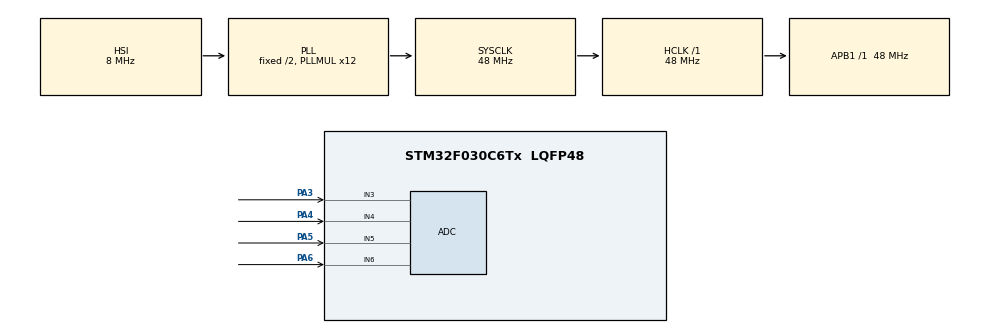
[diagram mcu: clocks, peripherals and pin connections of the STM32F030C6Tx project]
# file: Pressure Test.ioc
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ADC.ContinuousConvMode=ENABLE
ADC.DMAContinuousRequests=ENABLE
Dma.ADC.0.Direction=DMA_PERIPH_TO_MEMORY
Dma.ADC.0.Instance=DMA1_Channel1
Dma.ADC.0.MemDataAlignment=DMA_MDATAALIGN_HALFWORD
Dma.ADC.0.MemInc=DMA_MINC_ENABLE
Dma.ADC.0.Mode=DMA_CIRCULAR
Dma.ADC.0.PeriphDataAlignment=DMA_PDATAALIGN_HALFWORD
Dma.ADC.0.PeriphInc=DMA_PINC_DISABLE
Dma.ADC.0.Priority=DMA_PRIORITY_LOW
Dma.Request0=ADC
Mcu.Family=STM32F0
Mcu.Name=STM32F030C6Tx
Mcu.Package=LQFP48
NVIC.DMA1_Channel1_IRQn=true\:0\:0\:false\:false\:true\:false\:true\:true
PA13.Mode=Serial_Wire
PA13.Signal=SYS_SWDIO
PA14.Mode=Serial_Wire
PA14.Signal=SYS_SWCLK
PA3.Mode=IN3
PA3.Signal=ADC_IN3
PA4.Mode=IN4
PA4.Signal=ADC_IN4
PA5.Mode=IN5
PA5.Signal=ADC_IN5
PA6.Mode=IN6
PA6.Signal=ADC_IN6
PF0-OSC_IN.Mode=HSE-External-Oscillator
PF0-OSC_IN.Signal=RCC_OSC_IN
PF1-OSC_OUT.Mode=HSE-External-Oscillator
PF1-OSC_OUT.Signal=RCC_OSC_OUT
ProjectManager.HeapSize=0x200
ProjectManager.StackSize=0x400
ProjectManager.TargetToolchain=CMake
RCC.AHBFreq_Value=48000000
RCC.APB1Freq_Value=48000000
RCC.APB1TimFreq_Value=48000000
RCC.HCLKFreq_Value=48000000
RCC.PLLMUL=RCC_PLL_MUL12
RCC.SYSCLKFreq_VALUE=48000000
RCC.SYSCLKSource=RCC_SYSCLKSOURCE_PLLCLK
board=custom

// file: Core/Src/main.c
/* USER CODE BEGIN Header */
/**
  ******************************************************************************
  * @file           : main.c
  * @brief          : Main program body
  ******************************************************************************
  * @attention
  *
  * Copyright (c) 2026 STMicroelectronics.
  * All rights reserved.
  *
  * This software is licensed under terms that can be found in the LICENSE file
  * in the root directory of this software component.
  * If no LICENSE file comes with this software, it is provided AS-IS.
  *
  ******************************************************************************
  */
/* USER CODE END Header */
#include "main.h"
#include "adc.h"
#include "dma.h"
#include "gpio.h"
#include <math.h>

/* USER CODE BEGIN Includes */
#include "notch50.h"

/* USER CODE END Includes */

/* USER CODE BEGIN PD */
#define SENSOR0_TEST_MODE 1u /* PA3 only; bypass legacy four-channel foreground detection. */
#define ADC_REFERENCE_V 3.3f /* ADC VDDA in volts; replace with measured VDDA if needed. */
#define BOARD_W_MM       200.0f   /* 板宽 W（mm），按实际改 */
#define BOARD_H_MM       150.0f   /* 板高 H（mm），按实际改 */
#define HIT_THRESHOLD    0.3f     /* 击打阈值（V）：按压下降~0.4V，0.3V低于信号、高于空闲噪声 */
#define HIT_WINDOW_MS    30       /* 击打后抓峰值的窗口 ms */
#define BASELINE_SAMPLES 50       /* 开机采安静基线的次数 */
#define LPF_ALPHA        0.1f     /* 一阶低通系数(0~1)；0.1 ≈ 16Hz 截止 @1kHz，270Hz 衰减约 14 倍 */
#define BASELINE_BETA        0.0002f /* 基线慢跟踪系数(τ≈5s)：跟得上慢漂移，跟不动按压/尖峰 */
#define PRESS_ALPHA   0.003f   /* slow EMA for press detection (tau~500ms); 0.001f = ~1s */
#define PRESS_TH      0.03f    /* pressed when voltage drops 0.03V below baseline */
#define RELEASE_TH    0.02f    /* released when within 0.02V of baseline (hysteresis) */
#define STRIKE_MARGIN  0.10f    /* 旧固定阈值，已被下面的自适应阈值取代（保留供对照） */
#define STRIKE_HOLD_MS 100      /* striking 置 1 后保持的毫秒数 */
/* ---- 自适应击打判据 (fw 20260923) ----
 * 实测（Ozone_DataSampling_260920.csv，ch3 空闲）：vin_f 的噪声 σ≈43 mV，
 * 固定 0.10 V 只有 2.3σ，纯噪声就刷出 336 次/分；把阈值抬到 10σ 仍有 25 次/分，
 * 因为噪声是脉冲型而非高斯型，单路幅度阈值分不开。
 * 真正能分开的是【同时性】：敲击是机械事件，四个角在几毫秒内一起响应；
 * 噪声在各通道间独立（实测 ch3 大偏离时 ch1 只有 18.4%、ch2 8.6%、ch0 0.1% 同时偏离）。
 * 实测 6σ + 3/4 路同时(±5ms) → 68.6 s 内 0 次误触发（原逻辑 336 次/分）。 */
#define STRIKE_SIGMA_K      6.0f    /* 单路阈值 = K × 噪声σ */
#define STRIKE_MARGIN_MIN   0.10f   /* 阈值下限(V)：保持与原固定阈值一致，保证不会比原来更敏感 */
#define STRIKE_MARGIN_MAX   1.20f   /* 阈值上限(V) */
#define NOISE_ALPHA         0.0005f /* σ 估计的 EMA 系数，τ≈2 s @1kHz */
#define NOISE_SIGMA_MIN     0.005f  /* σ 下限(V) */
#define NOISE_SIGMA_MAX     1.000f  /* σ 上限(V) */
#define NOISE_CLIP_K        3.0f    /* σ 裁剪：只用 |d| < 3σ 的"安静"样本更新，别让击打本身抬高 σ */
#define COINC_WIN_MS        5u      /* 同时性窗口(ms) */
#define COINC_CH            3u      /* 至少几路在窗口内同时越界才算一次击打 */
#define STRIKE_REFRACT_MS   100u    /* 确认一次后的不应期(ms) */
/* ---- osc_floor 自适应触发 (fw 20260923) ----
 * 原来固定用 osc_floor > 0.85 V，但空闲时 osc_floor 的 p90 就是 0.690、max 0.919，
 * 阈值落在噪声分布里面，状态机自己在 0.85/0.70 之间来回翻转。
 * 改成对 osc_floor 自身的慢参考值和离散度做自适应。 */
#define OSC_FLOOR_K          6.0f    /* 触发阈值 = floor_ref + K × floor_spread */
#define OSC_FLOOR_MARGIN_MIN 0.05f   /* 最小裕量(V) */
#define OSC_FLOOR_REF_ALPHA  0.0002f /* floor 参考值 EMA，τ≈5 s */
#define OSC_FLOOR_SPR_ALPHA  0.0005f /* floor 离散度 EMA，τ≈2 s */
#define OSC_FLOOR_REARM_FRAC 0.5f    /* 复位：回落到 参考+50%裕量 以下 */
#define HIT_PEAK_K           4.0f    /* 该路峰值须超过自身噪声σ的 K 倍才算"有响应" */
#define HIT_STRONG_CH        3u      /* 至少几路有响应才认可这次 hit */
#define OSC_WINDOW           20      /* 振荡幅度窗口：20样本=20ms，覆盖~5个270Hz周期 */
#define OSC_ALPHA            0.05f   /* 振荡幅度低通系数(慢) */
#define OSC_FLOOR_PRESS_TH   0.85f   /* 按压判定：近期下界>0.85V(无低点)=按压；空闲下界会掉到0.6 */
#define OSC_FLOOR_REARM_TH   0.7f    /* 重新武装：近期下界<0.7V(有低点)=空闲 */
#define OSC_FLOOR_LEAK       0.001f  /* 下界上回速率(V/ms)，约250ms遗忘一个低点 */
/* ---- Rail / latch supervision (fw 20260922) ----
 * 实测：连续敲击后模拟前端会整体上移并自锁，ch1/ch2 的 ADC 读到 4095 且持续数十秒。
 * 没有这层保护时，base[] 会一路爬到 3.3V，于是"贴轨"的通道看起来和正常通道一样，
 * 位置解算也会把废弃通道算进去。 */
#define CH_RAIL_HI      4090u   /* raw >= 此值 = 输入达到/超过 ADC 满量程 */
#define CH_RAIL_LO      5u      /* raw <= 此值 = 输入达到/低于 ADC 零点 */
#define CH_RAIL_N      20u      /* 连续多少个 1ms 样本后判定该通道已锁死 */
/* ---- 高速采样 + 1ms 峰值保持 (fw 20260925) ----
 * ADC 单通道 @55.6 kHz (采样时间 239.5 周期) 连续转换, DMA 循环搬运。
 * 每半块(ADC_DMA_BLKSZ 个采样)在 DMA 中断里处理一次:
 *   adc_raw[0]  = 该块内【偏离均值最大】的那个原始采样(保留符号)
 *                 -> Ozone 以 1 kHz 导出时不会再漏掉 <1ms 的快速瞬态
 *   adc_mean[0] = 该块均值(对照)
 *   stk_*       = 整流差分包络检波器(击打检测本体), 延迟 ≈ 2.3 ms
 */
#define ADC_DMA_BLKSZ   64u                    /* DMA 半块/全块 采样数, 64/55556 = 1.15 ms */
#define ADC_DMA_LEN     (ADC_DMA_BLKSZ * 2u)   /* DMA 缓冲总长(半字), 128 = 256 B */
/* ---- 击打检测器 (fw 20260926): 块内 |Δ| 峰值 / 本底 ----
 * 原理: 击打 = 采样点之间的突变。
 *   每块取 max|x[n]-x[n-1]|            -> stk_dmax   (块内最大跳变, 单位 counts)
 *   本底 = 静置时 stk_dmax 的慢跟踪     -> stk_dfloor
 *   比值 = stk_dmax / stk_dfloor × 100  -> stk_ratio
 * 比值无量纲、与增益和偏置无关, 可以直接判断"有没有信号"。
 * ★ stk_maxratio = 清零以来比值的最大值 —— 这是判断能否检出的核心观测量:
 *     静置时约 200~350 (纯噪声的自然起伏)
 *     击打时若远高于它  -> 能检出
 *     击打时也在 300 上下 -> 检不出
 */
#define STK_K           4u      /* 触发阈值: 比值 >= K×100 (即 4 倍本底) */
#define STK_FLOOR_SH    8u      /* 本底跟踪移位(按块): τ = 256 块 = 0.29 s */
#define STK_REFRACT_MS  10u     /* 不应期(ms) = 允许的检测延迟 */
/* ============ 击打/按压检测滤波器 (fw 20260927) ============
 * 输入: adc_notch_vin[0] (1 kHz, 每 1.15 ms DMA 块 64 采样 @55.6 kHz 的均值)
 *   两级梳状 20 -> 25    等效 FIR 长度 44 点 = 44 ms, 群延迟 21.5 ms, sigma 116 mV -> 13.4 mV
 *   4.1 s 基线           每 32 点压一次进 128 点 int16 环(mV), 环均值 = 4096 点滑动平均
 *   双 sigma (sp^2 的 EMA, 只在空闲期更新):
 *      快 tau = 2^12 = 4.1 s  -> 击打
 *      慢 tau = 2^16 = 65 s   -> 按压(慢, 不会被按压自己的上升沿抬走)
 *   触发   |sp| > 6*sigma_fast  或  |sp| > 8*sigma_slow
 *   释放   回到 min(两个阈值)*0.5     不应期 20 ms
 *   宽度   <= 300 ms -> 击打 ; > 300 ms -> 按压
 * 在 Ozone_FifthTest.csv (静置30s -> 每5s击打 -> 按压5s) 上实测:
 *   35.882s/41ms, 40.744s/28ms, 50.717s/23ms 判为击打; 静置 30 s 内 0 次误报
 * ★ 关键: 判据必须建立在 1ms 块均值再 20/25 点串联平均之后。
 *   adc_raw[0] 上 1~2 采样宽的尖峰, 在静置期和击打期出现频率相同(比值 1.01),
 *   不能用来判击打 —— 静置 23.890s 处那个尖峰比 40.7s 那次击打还大。
 * ========================================================== */
#define SF_N1           20u
#define SF_N2           25u
#define SF_DEC          32u
#define SF_RING         128u
#define SF_KS           4.5f    /* 击打阈值 = 4.5 * sigma_fast */
#define SF_KL           6.0f    /* 按压阈值 = 6 * sigma_slow */
#define SF_GATEK        3.0f    /* sigma 只在 |sp| < 3*sigma 时更新 (挡住击打后的余振) */
#define SF_REL          0.5f    /* 释放 = 阈值 * 0.5 */
#define SF_LONG_MS      300u    /* 宽于此判为按压 */
#define SF_REFRACT_MS   300u    /* 事件间最小间隔 */
/* ---- 消隐: 事件后阈值临时抬高, 线性回落 ----
 * 一锤会让传感器余振 2~4 s, 冒出 30~80 mV 的二次事件, 每个都会被算成一次击打。
 * 事件后把阈值抬高, 在 SF_BLANK_MS 内线性回落到 0: 余振全被压掉。
 * ★ 抬升量现在是运行时可调的 sf_blank_cfg (默认 0 = 不消隐),
 *   SF_BLANK_V 只作为"改用锤击时"的参考值保留, 不再直接使用。
 *   代价: 抬升期间灵敏度下降, 相隔 < 5 s 的下一击可能被吞掉。 */
#define SF_BLANK_V      0.120f  /* 参考值: 锤击场景建议 0.100 ~ 0.120 */
#define SF_BLANK_MS     5000u   /* 消隐回落时间(ms) */
/* ---- 按压改判 ----
 * 按压落下那一下是 115 mV / 80 ms, 和锤击形状完全一样, 靠宽度分不开。
 * 但按压之后电平会【持续】抬高, 锤击不会。所以事件结束后再看 5 s:
 * 若出现连续 1 s 的高电平, 就把刚才那次从击打计数退回, 记为按压。 */
#define SF_SUS_K        3.0f    /* 持续判定: |sp| > 3*sigma 连续 ... */
#define SF_SUS_MS       1000u   /*   ... 1000 ms */
#define SF_CHK_MS       5000u   /* 事件结束后观察 5 s */
#define SF_SETTLE_MS    5000u   /* 环填满后再等 5 s */
#define SF_PRESS_GAP_MS 6000u
#define SF_SIG_MIN      0.002f
#define SF_SIG_MAX      0.500f
#define SF_SIG_INIT     0.015f
/* USER CODE END PD */

/* USER CODE BEGIN PV */
volatile uint16_t adc_raw[4];   /* Legacy: [0] is block extreme, NOT latest conversion; [1..3] inactive. */
volatile float    adc_vin[4];   /* Legacy: [0] is peak-picked voltage. Use sensor0_raw_v for latest sample. */

float            base[4] = {0};      /* 安静基线电压 */
float            peak[4] = {0};      /* 冲击各通道峰值 */
volatile float   vin_f[4] = {0};     /* 低通滤波后的电压（一阶EMA状态，滤270Hz共振）；volatile 便于 Ozone 观察 */
volatile float   vin_slow[4] = {0};   /* slow-filtered voltage (~0.5Hz), for press/release */
volatile uint32_t pressed[4] = {0};    /* per-channel: 1 = pressed, 0 = released (watch in Ozone) */
volatile float    press_dev[4] = {0};  /* per-channel press deviation (base - vin_slow), for Ozone */
volatile uint32_t striking = 0;        /* 1 = striking activity detected (rough) */
volatile uint32_t strike_count = 0;    /* accumulates: +1 per strike (rising edge) */
volatile float   osc_amp = 0;        /* 振荡幅度(V)：原始信号20ms峰峰值，低通后 */
volatile float   osc_floor = 2.0f;   /* 振荡幅度近期下界(V)：空闲~0.6、按压~1.0；供Ozone观察 */
volatile float   hit_x = 0;          /* 击打位置 x（中心原点，右正左负） */
volatile float   hit_y = 0;          /* 击打位置 y（中心原点，上正下负） */
volatile uint32_t hit_count = 0;     /* 累计击打次数 */
/* ---- Rail / latch supervision (fw 20260922) ---- */
volatile uint32_t ch_rail[4] = {0};     /* 1 = 该通道已贴轨锁死（连续 CH_RAIL_N ms 撞轨） */
volatile uint32_t ch_rail_ms[4] = {0};  /* 当前已连续贴轨多少 ms；0 = 未贴轨 */
volatile uint32_t ch_rail_events = 0;   /* 上电以来"进入锁死"的总次数 */
volatile uint32_t trigger_ch = 0;       /* 0..3 = 指定通道；>=4 = 自动选"幅度最大且未贴轨"的一路（默认） */
volatile uint32_t trigger_ch_used = 0;  /* 实际生效的触发通道（选中路贴轨或自动模式下自动切换） */
volatile float    osc_amp_ch[4] = {0};  /* 每路各自的振荡幅度(V)，用来找"哪一路还活着" */
volatile float    peak_up[4] = {0};     /* 抓峰窗口内相对基线的最大【上】偏量(V) */
volatile uint32_t peak_dir = 0;         /* 0 = 位置用下偏 peak[]（原行为），1 = 用上偏 peak_up[] */
volatile uint32_t hit_valid = 0;        /* 1 = 上次触发时至少有 3 路可用，位置可信 */
volatile uint32_t hit_rejected = 0;     /* 因贴轨通道过多而被丢弃的触发次数 */
volatile uint32_t adc_rezero = 0;       /* Ozone 里写 1：立刻重采一次基线并复位滤波器 */
/* ---- 自适应击打判据的观测量 (fw 20260923) ---- */
volatile float    strike_dev[4] = {0};   /* vin_f - base，本路当前的向上偏离量(V) */
volatile float    noise_sigma[4] = {0};  /* 本路 vin_f 的在线噪声 σ 估计(V) */
volatile float    strike_thr[4] = {0};   /* 本路当前实际使用的击打阈值(V) = max(0.05, 6σ) */
volatile uint32_t strike_ch[4] = {0};    /* 1 = 本路本周期越过了自己的阈值 */
volatile uint32_t strike_coinc = 0;      /* 最近 COINC_WIN_MS 窗口内同时越界的通道数 0~4 */
volatile uint32_t strike_reject = 0;     /* 只有 1~2 路越界、因不同时而丢弃的次数 */
volatile float    osc_floor_ref = 0;     /* osc_floor 的自适应参考值(V) */
volatile float    osc_floor_spread = 0;  /* osc_floor 的慢离散度(V) */
volatile float    osc_floor_thr = 0;     /* 当前实际触发阈值(V) = ref + 6×spread */
/* ADC diagnostics: retained software-observed extrema, not a full DMA trace. */
volatile uint32_t adc_diag_version = 20260928u; /* strike filter v4: 消隐 + 按压改判 + sigma 门限 */
volatile uint32_t adc_diag_stage = 0; /* 1=calibrate, 2=start, 3=settle, 4=loop */
volatile uint32_t adc_cal_status = 0xFFFFFFFFu;
volatile uint32_t adc_start_status = 0xFFFFFFFFu;
volatile uint32_t main_loop_count = 0;
volatile uint16_t adc_seen_min[4] = {4095, 4095, 4095, 4095};
volatile uint16_t adc_seen_max[4] = {0};
volatile uint16_t adc_seen_span[4] = {0};
volatile uint32_t adc_diag_reset = 1; /* Write 1 in Ozone to start a new window. */
/* 1 kHz sampled raw voltage and notch output, both in volts for Ozone. */
volatile float adc_notch_vin[4] = {0};
volatile uint32_t notch_sample_count = 0;
static volatile uint32_t adc_filter_ready = 0;
static Notch50State notch_state[4] = {0};
static uint8_t ch_frozen[4] = {0};   /* 该通道上一轮是否处于贴轨冻结状态 */
static float   noise_var[4] = {0};   /* vin_f-base 的在线方差估计 */
static uint8_t coinc_ring[COINC_WIN_MS + 1] = {0}; /* 最近若干采样的"越界位掩码" */
static uint8_t coinc_idx = 0;
static uint32_t strike_last_ms = 0;  /* 上次确认击打的时间戳 */
static uint32_t strike_dropped = 0;  /* 被同时性判据丢掉的候选次数 */

/* ================= 高速采样 + 峰值保持 (fw 20260925) ================= */
volatile uint16_t adc_dma_buf[ADC_DMA_LEN] = {0};  /* DMA 目标缓冲 */
volatile uint16_t adc_mean[1]  = {0};   /* 每块的均值原始值(对照用) */
volatile uint16_t blk_max_ever = 0;     /* 上电以来全局最大原始值 ★ */
volatile uint16_t blk_min_ever = 0xFFFF;/* 上电以来全局最小原始值 ★ */
volatile uint32_t blk_reset    = 1;     /* Ozone 写 1: 清零全局极值和统计 */
volatile uint32_t blk_count    = 0;     /* 已处理块数, 应约 870/s */

volatile uint32_t stk_dmax     = 0;     /* 本块 |Δ| 最大值 (counts) */
volatile uint32_t stk_dfloor   = 1;     /* 本底: 静置时 stk_dmax 的慢跟踪 */
volatile uint32_t stk_ratio    = 0;     /* 本块比值 ×100 = dmax/dfloor*100 */
volatile uint32_t stk_maxratio = 0;     /* ★ 清零以来比值最大值 —— 看这个判断能否检出 */
volatile uint32_t stk_count    = 0;     /* 击打累计次数 */
volatile uint32_t stk_state    = 0;     /* 0=空闲 1=已触发 */
volatile uint32_t stk_reject   = 0;     /* 未达阈值的块数(诊断) */

static uint16_t stk_prev;               /* 上一个采样 */
static uint32_t stk_dfloor_q;           /* 4.12 定点本底 */
static uint32_t stk_last_ms;            /* 上次计数时刻 */

/* ================= 击打/按压检测滤波器状态 (fw 20260927) ================= */
volatile float    sf_sp       = 0;  /* 滤波后偏离基线的量(V)      ★看这个 */
volatile float    sf_sigma    = 0;  /* 快 sigma(V) */
volatile float    sf_sigma_lp = 0;  /* 慢 sigma(V) */
volatile float    sf_thr      = 0;  /* 自适应击打阈值(V) = SF_KS*sf_sigma */
volatile float    sf_blank    = 0;  /* 当前消隐抬升量(V), 事件后从 sf_blank_cfg 线性降到 0 */
volatile float    sf_ratio    = 0;  /* |sp|/sigma                 ★调 SF_KS 看它 */
volatile uint32_t sf_strike   = 0;  /* ★★★ 击打次数 ★★★ */
volatile uint32_t sf_press    = 0;  /* 按压次数 */
volatile uint32_t sf_reclass  = 0;  /* 被改判为按压起始的次数(诊断) */
volatile uint32_t sf_state    = 0;  /* 1 = 事件进行中 */
volatile uint32_t sf_evt_ms   = 0;  /* 当前事件宽度(ms) */
volatile uint32_t sf_maxratio = 0;  /* sf_ratio 历史最大值 x100 */
volatile uint32_t sf_winratio = 0;  /* 最近 5 s 内 sf_ratio 最大值 x100 */
volatile uint32_t sf_reset    = 1;  /* Ozone 写 1 清零 (上电自动为 1) */
volatile uint32_t sf_ready    = 0;  /* 1 = 滤波器已稳定, 开始计数 */

/* =================★ 判定力度调节 (Ozone 里直接改, 不会被 sf_reset 清掉) =================
 *
 * sf_sens_v  —— 【判定力度】, 单位 V。这就是多小的偏离算一次击打。
 *     写 0        -> 用自适应阈值 (SF_KS * sf_sigma), 上电默认
 *     写 0.060    -> 偏离基线 60 mV 就触发
 *     写 0.100    -> 需要 100 mV 才触发
 *     数值越小越灵敏: 轻击能触发, 但误报风险上升
 *
 *  怎么选这个值 (对照导出的 sensor0_delta_v):
 *     1) 静置 20 s, 看 |sensor0_delta_v| 最多到多少 —— 记 N
 *     2) 轻敲一下, 看 sensor0_delta_v 峰值能到多少 —— 记 S
 *     3) sf_sens_v 取 (N + S) / 2 附近, 也就是落在"静置噪声上限"和"击打峰值"正中间
 *  44444.csv 实测: 静置 |delta| 的 100ms 差分 p999 = 45.8 mV, 击打 89~164 mV
 *                  -> sf_sens_v = 0.065f 落在中间
 *  若 N 和 S 靠得太近 (S < 2N), 说明这个力度在这个噪声下分不开, 调不出结果。
 *
 * sf_blank_cfg —— 【消隐抬升量】, 单位 V, 上电默认 0 = 不消隐。
 *     事件关闭后把阈值抬高 sf_blank_cfg, 在 SF_BLANK_MS 内线性回落到 0。
 *     这是给"锤击"用的(锤击余振 2~4 s 会冒出二次事件), 但代价是:
 *     抬升期间灵敏度下降, 相隔 < 5 s 的下一击可能被吞掉。
 *     44444.csv 里击打间隔只有 1.7 s, 120 mV 的消隐吃掉了 16 次里的 5 次,
 *     所以默认改成 0。如果改用锤击, 可以写回 0.100~0.120。
 *
 * 只读诊断量:
 *     sf_thr_used —— 当前实际生效的触发电平(V), 等于 判定力度 + 当前消隐量
 *     sf_sens_sel —— 1 = 正在用手动 sf_sens_v; 0 = 正在用自适应阈值
 */
volatile float    sf_sens_v    = 0.0f;  /* ★★★ 判定力度(V); 0 = 自适应 ★★★ */
volatile float    sf_blank_cfg = 0.0f;  /* 消隐抬升量(V); 0 = 不消隐 */
volatile float    sf_thr_used  = 0;     /* 只读: 当前实际生效的触发电平(V) = 判定力度 + 消隐量 */
volatile uint32_t sf_sens_sel  = 0;     /* 只读: 1 = 正在用手动 sf_sens_v; 0 = 自适应 */
/* =================★ 极性 (Ozone 里直接改, 不会被 sf_reset 清掉) =================
 * 实测 44444.csv: 击打 -> sensor0_delta_v 变负 (-89 ~ -164 mV)
 *                 按压 -> sensor0_delta_v 变正 (+138 ~ +230 mV)
 * sf_pol:
 *     -1  = 只看负向, 也就是"击打"方向  ★默认
 *      0  = 双极性, 正负都算 (旧行为, 按压也会起事件)
 *     +1  = 只看正向
 * 只看负向的好处: 正向的按压根本不会起事件, 不占不应期也不触发消隐,
 * 用 44444.csv 实测, 事件数从 29 降到 24, 击打一次不丢。
 */
volatile int32_t  sf_pol       = -1;    /* ★★★ 极性; -1=只看负向(击打) ★★★ */
volatile float    sf_trig_v    = 0;     /* 只读: 按当前极性算出的有效偏离量(V) */

/* Sensor 0 test observables. Voltages are ADC-pin volts, not piezo input volts.
 * Raw/block statistics update at DMA block completion (~1.152 ms).
 * Filter/detector observables update in SysTick (1 ms). */
volatile uint32_t sensor0_test_version = 1u;
volatile uint16_t sensor0_raw_adc = 0;
volatile float sensor0_raw_v = 0;       /* Last actual sample of the completed DMA block. */
volatile float sensor0_mean_v = 0;      /* Mean of all 64 samples, before temporal filtering. */
volatile float sensor0_block_min_v = 0, sensor0_block_max_v = 0;
volatile float sensor0_filtered_v = 0;  /* Absolute voltage after 20 + 25 point moving averages. */
volatile float sensor0_baseline_v = 0;
volatile float sensor0_delta_v = 0;     /* Filtered voltage minus adaptive baseline. */
volatile float sensor0_threshold_v = 0; /* Actual start threshold INCLUDING blanking uplift. */
volatile float sensor0_last_peak_v = 0; /* Last completed event's absolute baseline deviation. */
volatile uint32_t sensor0_last_width_ms = 0;
volatile uint32_t sensor0_candidate_count = 0; /* Monotonic threshold-crossing event count. */
volatile uint32_t sensor0_hit_count = 0; /* sf_strike: short events; may be reclassified as press. */
volatile uint32_t sensor0_press_count = 0;
volatile uint32_t sensor0_active = 0;    /* Threshold event currently in progress. */
volatile uint32_t sensor0_hit = 0;       /* 100 ms pulse when a short event completes. */
volatile uint32_t sensor0_ready = 0;     /* Quiet startup/reset needs about 9.2 s. */
volatile uint32_t sensor0_reset = 0;     /* Write 1: reset detector, counts and baseline; keep ADC running. */
static uint32_t sensor0_hit_hold = 0;

static float    sfb1[SF_N1], sfb2[SF_N2];
static uint8_t  sfi1, sfi2;
static float    sfa1, sfa2;
static int16_t  sfring[SF_RING];
static uint16_t sfri, sfring_n;
static int32_t  sfrsum;
static float    sfdec_acc;
static uint8_t  sfdec_n;
static float    sfbase;
static uint8_t  sfwarm, sfinited;
static float    sfvar, sfvarl;
static uint16_t sfhold, sfms;
static uint32_t sfrunms, sflast_press, sfwinms;
static float    sfwinmax;
static float    sfgate_sig;             /* 上一拍的 sigma, 作为 sigma 门限的比较基准 */
static float    sfpeak;                 /* 当前事件的峰值(V) */
static float    sf_blank_step;          /* 消隐每毫秒的回落量 */
static uint32_t sfsus;                  /* 持续高电平的连续毫秒数 */
static uint32_t sfchk;                  /* 事件结束后的观察倒计时(ms) */
/* USER CODE END PV */

void SystemClock_Config(void);

/* USER CODE BEGIN 0 */
/* ================= 击打/按压检测滤波器 (fw 20260928) ================= */
static void StrikeFilter_Reset(void)
{
  uint32_t k;
  for (k = 0; k < SF_N1; k++)   sfb1[k] = 0.0f;
  for (k = 0; k < SF_N2; k++)   sfb2[k] = 0.0f;
  for (k = 0; k < SF_RING; k++) sfring[k] = 0;
  sfi1 = 0; sfi2 = 0; sfa1 = 0.0f; sfa2 = 0.0f;
  sfri = 0; sfrsum = 0; sfring_n = 0;
  sfdec_acc = 0.0f; sfdec_n = 0; sfbase = 0.0f;
  sfwarm = 0; sfinited = 0;
  sfvar  = SF_SIG_INIT * SF_SIG_INIT;
  sfvarl = SF_SIG_INIT * SF_SIG_INIT;
  sfgate_sig = SF_SIG_INIT;
  sfhold = 0; sfms = 0; sfrunms = 0; sflast_press = 0;
  sfwinms = 0; sfwinmax = 0.0f; sfpeak = 0.0f;
  sf_blank = 0.0f; sf_blank_step = 0.0f;
  sfsus = 0; sfchk = 0;
  sf_sp = 0; sf_sigma = SF_SIG_INIT; sf_sigma_lp = SF_SIG_INIT;
  sf_thr = 0; sf_ratio = 0;
  sf_strike = 0; sf_press = 0; sf_reclass = 0; sf_state = 0; sf_evt_ms = 0;
  sf_maxratio = 0; sf_winratio = 0; sf_ready = 0;
  /* 注意: sf_sens_v / sf_blank_cfg / sf_pol 是【用户设定】, 这里故意不清零 ——
   *       按复位键后判定力度和极性保持你上次调好的值, 不用重新写。 */
  sf_thr_used = 0; sf_sens_sel = 0; sf_trig_v = 0;
  sensor0_filtered_v = 0; sensor0_baseline_v = 0; sensor0_delta_v = 0;
  sensor0_threshold_v = 0; sensor0_last_peak_v = 0; sensor0_last_width_ms = 0;
  sensor0_candidate_count = 0; sensor0_hit_count = 0; sensor0_press_count = 0;
  sensor0_active = 0; sensor0_hit = 0; sensor0_hit_hold = 0; sensor0_ready = 0;
}

/* 每 1 ms 调用一次 (由 ADC_FilterTick1ms 调用) */
void StrikeFilter_Tick(float vin)
{
  float y1, y2, sp, a, sg, sgl, thrS, thrL, thr, thrEff, rel, trig;

  if (sf_reset) { sf_reset = 0; StrikeFilter_Reset(); }

  /* Seed both moving averages at the first voltage to avoid a false ramp from zero. */
  if (!sfinited && sfwarm == 0)
  {
    for (uint32_t k = 0; k < SF_N1; k++) sfb1[k] = vin;
    for (uint32_t k = 0; k < SF_N2; k++) sfb2[k] = vin;
    sfa1 = vin * (float)SF_N1; sfa2 = vin * (float)SF_N2;
    sfbase = vin;
    sensor0_baseline_v = vin;
  }
  /* Cascaded 20/25-point moving averages: 44-sample impulse response,
   * 21.5 ms group delay at 1 kHz; NOT a 500 ms moving average. */
  sfa1 += vin - sfb1[sfi1];
  sfb1[sfi1] = vin;
  if (++sfi1 >= SF_N1) sfi1 = 0;
  y1 = sfa1 * (1.0f / (float)SF_N1);

  sfa2 += y1 - sfb2[sfi2];
  sfb2[sfi2] = y1;
  if (++sfi2 >= SF_N2) sfi2 = 0;
  y2 = sfa2 * (1.0f / (float)SF_N2);
  sensor0_filtered_v = y2;

  if (!sfinited)
  {
    if (++sfwarm >= (SF_N1 + SF_N2)) sfinited = 1;
    return;
  }

  /* ---- 2. 4.1 s 基线: 32 点抽取 + 128 点 int16 环(单位 mV) ---- */
  sfdec_acc += y2;
  if (++sfdec_n >= SF_DEC)
  {
    int16_t v = (int16_t)(sfdec_acc * (1000.0f / (float)SF_DEC) + 0.5f);
    sfrsum += (int32_t)v - (int32_t)sfring[sfri];
    sfring[sfri] = v;
    if (++sfri >= SF_RING) sfri = 0;
    if (sfring_n < SF_RING) sfring_n++;
    sfdec_acc = 0.0f; sfdec_n = 0;
    sfbase = ((float)sfrsum / (float)sfring_n) * 0.001f;
    sensor0_baseline_v = sfbase;
  }
  if (sfring_n < SF_RING) return;   /* 前 4.1 s 只填环 */

  /* ---- 3. 偏离基线的量 ---- */
  sp = y2 - sfbase;
  a  = (sp >= 0.0f) ? sp : -sp;
  sf_sp = sp;
  sensor0_delta_v = sp;

  /* ---- 4. 双 sigma: 只在空闲期 且 |sp| < SF_GATEK*sigma 时更新 ----
   * 后一个条件必须加: 击打后传感器余振, 振铃期间信号反复穿过阈值使 sf_state
   * 频繁回到 0。若把这些振铃样本算进 sigma, sigma 会被自己抬高, 后面每一锤
   * 都检不出。加了这个门之后 sigma 稳定在静置噪声本底上。 */
  if (!sf_state && a < SF_GATEK * sfgate_sig)
  {
    sfvar  += (a * a - sfvar)  * (1.0f / 8192.0f);
    sfvarl += (a * a - sfvarl) * (1.0f / 65536.0f);
  }
  sg  = sqrtf(sfvar);
  sgl = sqrtf(sfvarl);
  if (sg  < SF_SIG_MIN) sg  = SF_SIG_MIN;
  if (sg  > SF_SIG_MAX) sg  = SF_SIG_MAX;
  if (sgl < SF_SIG_MIN) sgl = SF_SIG_MIN;
  if (sgl > SF_SIG_MAX) sgl = SF_SIG_MAX;
  sf_sigma = sg; sf_sigma_lp = sgl;
  sfgate_sig = sg;
  thrS = SF_KS * sg;
  thrL = SF_KL * sgl;
  thr  = (thrS < thrL) ? thrS : thrL;

  /* ---- ★ 判定力度: sf_sens_v > 0 时用手动绝对值覆盖自适应阈值 ---- */
  if (sf_sens_v > 0.0f)
  {
    thr = sf_sens_v;
    sf_sens_sel = 1;
  }
  else sf_sens_sel = 0;

  rel  = thr * SF_REL;
  sf_thr = thr;
  sf_ratio = (sg > 0.0f) ? (a / sg) : 0.0f;

  /* ---- ★ 极性: 决定往哪个方向算"击打" ----
   * 实测(44444.csv): 击打 -> filtered_v 下凹, delta_v 变负 (-89~-164 mV)
   *                  按压 -> delta_v 变正 (+138~+230 mV)
   * trig 就是"按当前极性算出来的有效偏离量", 只有它越过阈值才起事件。 */
  if (sf_pol < 0)       trig = -sp;              /* 只看负向 = 击打方向 (默认) */
  else if (sf_pol > 0)  trig =  sp;              /* 只看正向 */
  else                  trig =  a;               /* 双极性(正负都算) */
  if (trig < 0.0f) trig = 0.0f;
  sf_trig_v = trig;                              /* 只读: 极性相关量, 调参看它 */

  /* ---- 5. 消隐量线性回落 ---- */
  if (sf_blank > 0.0f)
  {
    sf_blank -= sf_blank_step;
    if (sf_blank < 0.0f) sf_blank = 0.0f;
  }
  thrEff = thr + sf_blank;
  sf_thr_used = thrEff;                 /* 只读: 当前真正生效的触发电平 */
  sensor0_threshold_v = thrEff;

  /* ---- 6. 诊断量: 历史最大 / 最近 5 s 最大 (调 SF_KS 用) ---- */
  {
    uint32_t r100 = (uint32_t)(sf_ratio * 100.0f);
    if (r100 > sf_maxratio) sf_maxratio = r100;
    if (sf_ratio > sfwinmax) sfwinmax = sf_ratio;
    if (++sfwinms >= 5000u)
    {
      sf_winratio = (uint32_t)(sfwinmax * 100.0f);
      sfwinmax = 0.0f; sfwinms = 0;
    }
  }

  /* ---- 7. 触发 / 释放 / 宽度分类 ---- */
  if (sfhold) sfhold--;
  sfrunms++;
  if (sfrunms < SF_SETTLE_MS) return;   /* 环填满后再等 5 s */
  sf_ready = 1;                         /* 从这里开始才算数 */

  /* ---- 8. 持续性判定: 事件后 5 s 内若连续 1 s 高电平 -> 是按压起始, 击打计数回退 ---- */
  if (sfchk > 0)
  {
    sfchk--;
    if (trig > SF_SUS_K * sg)
    {
      if (++sfsus >= SF_SUS_MS)
      {
        if (sf_strike > 0) sf_strike--;
        sf_press++;
        sf_reclass++;
        sfchk = 0; sfsus = 0;
      }
    }
    else sfsus = 0;
  }

  if (!sf_state)
  {
    if (sfhold == 0 && trig > thrEff)
    {
      sf_state = 1; sfms = 1; sf_evt_ms = 1; sfpeak = a;
      sensor0_candidate_count++;
    }
  }
  else
  {
    sfms++;
    sf_evt_ms = sfms;
    if (a > sfpeak) sfpeak = a;
    if (trig < rel)
    {
      sensor0_last_peak_v = sfpeak;
      sensor0_last_width_ms = sfms;
      if (sfms <= SF_LONG_MS) { sf_strike++; sfchk = SF_CHK_MS; sfsus = 0; }
      else
      {
        uint32_t now = HAL_GetTick();
        if ((now - sflast_press) > SF_PRESS_GAP_MS) { sf_press++; sflast_press = now; }
      }
      sf_state = 0;
      sfhold = SF_REFRACT_MS;
      /* 消隐: 用运行时可调的 sf_blank_cfg (默认 0 = 不消隐) */
      sf_blank = sf_blank_cfg;
      sf_blank_step = (sf_blank_cfg > 0.0f) ? (sf_blank_cfg / (float)SF_BLANK_MS) : 0.0f;
    }
    else if (sfms > 60000u) { sf_state = 0; sfhold = SF_REFRACT_MS; }
  }
}

/* Called only by the 1 ms SysTick interrupt. The foreground may block for
 * baseline/peak capture; filtering must still continue at exactly 1 kHz.
 * ADC/DMA run independently. This snapshots their latest values, not every
 * hardware conversion; it is not a replacement for analog anti-aliasing.
 */
void ADC_FilterTick1ms(void)
{
  if (!adc_filter_ready || blk_count == 0u) return;
  if (sensor0_reset)
  {
    sensor0_reset = 0;
    sf_reset = 1;
  }
  uint32_t previous_hits = sf_reset ? 0u : sf_strike;
  adc_vin[0] = adc_raw[0] * (ADC_REFERENCE_V / 4095.0f); /* Legacy peak view. */
  StrikeFilter_Tick(sensor0_mean_v);
  sensor0_ready = sf_ready;
  sensor0_active = sf_state;
  sensor0_hit_count = sf_strike;
  sensor0_press_count = sf_press;
  if (sensor0_hit_hold) sensor0_hit_hold--;
  if (sf_strike > previous_hits) sensor0_hit_hold = 100u;
  sensor0_hit = (sensor0_hit_hold != 0u);
  notch_sample_count++; /* Legacy name: counts 1 kHz processing ticks, no biquad here. */
}

/* ---- 处理一个 DMA 块: 峰值保持 + 整流差分包络检波 ----
 * 由 DMA 半传输/全传输中断调用, 每块 ADC_DMA_BLKSZ 个采样。
 * 纯整数运算, 每采样约 20 条指令。
 */
static void Strike_ProcessBlock(const uint16_t *buf, uint32_t n)
{
  uint16_t mx = 0, mn = 0xFFFF, dmax = 0;
  uint32_t sum = 0;

  if (blk_reset)
  {
    blk_reset    = 0;
    blk_max_ever = 0;
    blk_min_ever = 0xFFFF;
    blk_count    = 0;
    stk_count    = 0;
    stk_maxratio = 0;
    stk_reject   = 0;
    stk_dfloor_q = 0;
    stk_dfloor   = 1;
  }

  for (uint32_t i = 0; i < n; i++)
  {
    uint16_t s = buf[i];

    /* --- 块极值与和 --- */
    if (s > mx) mx = s;
    if (s < mn) mn = s;
    sum += s;

    /* --- 相邻采样差分绝对值, 取块内最大 --- */
    uint16_t dd = (s >= stk_prev) ? (uint16_t)(s - stk_prev) : (uint16_t)(stk_prev - s);
    stk_prev = s;
    if (dd > dmax) dmax = dd;
  }
  stk_dmax = dmax;

  /* --- 全局极值 --- */
  if (mx > blk_max_ever) blk_max_ever = mx;
  if (mn < blk_min_ever) blk_min_ever = mn;

  /* --- 本底慢跟踪: 只在空闲状态, 且只用"像本底"的块 --- */
  {
    uint32_t f = stk_dfloor_q >> 12;
    if (f < 1u) f = 1u;
    if (!stk_state && (uint32_t)dmax < f * 3u)
    {
      int32_t tgt = (int32_t)dmax << 12;
      stk_dfloor_q = (uint32_t)((int32_t)stk_dfloor_q +
                    ((tgt - (int32_t)stk_dfloor_q) >> STK_FLOOR_SH));
    }
  }
  {
    uint32_t f = stk_dfloor_q >> 12;
    if (f < 1u) f = 1u;
    stk_dfloor = f;
  }

  /* --- 比值 ×100 --- */
  {
    uint32_t ratio = ((uint32_t)dmax * 100u) / stk_dfloor;
    stk_ratio = ratio;
    if (ratio > stk_maxratio) stk_maxratio = ratio;

    /* --- 双阈值滞回 + 不应期 --- */
    if (!stk_state)
    {
      if (ratio >= STK_K * 100u)
      {
        stk_state = 1;
        uint32_t now = HAL_GetTick();
        if ((now - stk_last_ms) >= STK_REFRACT_MS)
        {
          stk_count++;
          stk_last_ms = now;
        }
      }
      else stk_reject++;
    }
    else
    {
      if (ratio < STK_K * 50u) stk_state = 0;
    }
  }

  /* --- ★ 两个导出量 ---
   *   adc_raw[0]       = 该块内【偏离均值最大】的原始采样(保留符号)
   *                      -> 1 kHz 导出不会漏掉 <1ms 的快速瞬态, 看击打就看它
   *   adc_notch_vin[0] = 该块【均值电压】(V)
   *                      -> 窄带低噪声, 看真实直流基线和本底噪声就看它
   */
  {
    uint16_t mean = (uint16_t)(sum / n);
    sensor0_raw_adc = buf[n - 1u];
    sensor0_raw_v = (float)sensor0_raw_adc * (ADC_REFERENCE_V / 4095.0f);
    sensor0_mean_v = ((float)sum / (float)n) * (ADC_REFERENCE_V / 4095.0f);
    sensor0_block_min_v = (float)mn * (ADC_REFERENCE_V / 4095.0f);
    sensor0_block_max_v = (float)mx * (ADC_REFERENCE_V / 4095.0f);
    adc_mean[0]      = mean;
    adc_notch_vin[0] = sensor0_mean_v; /* Legacy alias: this is a block mean, not notch output. */
    adc_raw[0]       = (((uint32_t)mx - mean) >= ((uint32_t)mean - mn)) ? mx : mn;
  }

  blk_count++;
}
/* USER CODE END 0 */

/* Called from foreground sampling, including the hit peak-capture window.
 * Extrema persist until reset so slow debugger refresh does not erase them.
 * Pulses occurring entirely between these samples can still be missed.
 */
static void ADC_UpdateDiagnostics(void)
{
  uint32_t reset = adc_diag_reset;
  adc_diag_reset = 0;
  for (int i = 0; i < 4; i++)
  {
    uint16_t raw = adc_raw[i];
    if (reset)
    {
      adc_seen_min[i] = raw;
      adc_seen_max[i] = raw;
    }
    else
    {
      if (raw < adc_seen_min[i]) adc_seen_min[i] = raw;
      if (raw > adc_seen_max[i]) adc_seen_max[i] = raw;
    }
    adc_seen_span[i] = adc_seen_max[i] - adc_seen_min[i];
  }
}

/* 开机采 samples 次平均作为安静基线（此时板上不能有压力） */
static void ADC_CalibrateBaseline(uint32_t samples)
{
  float sum[4] = {0, 0, 0, 0};
  for (uint32_t k = 0; k < samples; k++)
  {
    for (int i = 0; i < 4; i++)
      sum[i] += adc_notch_vin[i]; /* Baseline uses the same filtered signal. */
    HAL_Delay(1);
  }
  for (int i = 0; i < 4; i++)
    base[i] = sum[i] / (float)samples;
}

/* ADC → 力 F 的转换（占位）。
   用「电压 - 基线」当作 F（正比于力）。
*/
static float adc_to_F(float voltage, float baseline)
{
  float f = baseline - voltage;   /* 阶跃：按下时电压【下降】，所以 基线-电压 = 按压的力 */
  if (f < 0) f = 0;
  return f;
}

/* 一阶低通（指数滑动平均）：state += alpha * (x - state)。
   每次 1ms 采样调用一次。用于滤掉 ~270Hz 机械共振（击打是 <50Hz 的慢信号）。 */
static float lpf_update(float state, float x, float alpha)
{
  return state + alpha * (x - state);
}

/* 自适应基线：电压高于基线时较快跟上（跟踪空闲/向上漂移），
   低于基线时极慢（按压不拉低基线）。
   解决"固定基线采早/采错/漂移"导致的 hit_count 自增或永远为 0。 */
static float baseline_track(float base, float v)
{
  return base + BASELINE_BETA * (v - base);   /* 对称慢跟踪：不追尖峰也不追按压 */
}

/* 振荡幅度检测：手指压上会压死 270Hz 共振，振荡幅度骤降。
 * 每 1ms 对四路各调一次，更新 osc_amp_ch[]（该路峰峰值，低通后），并返回该路的值。
 * 调用者再决定用哪一路去驱动 osc_amp / osc_floor。 */
static float osc_update(float voltage, int ch)
{
  static float buf[4][OSC_WINDOW];
  static uint8_t idx[4] = {0, 0, 0, 0};
  static uint8_t initialized[4] = {0, 0, 0, 0};
  if (!initialized[ch]) {
    for (int i = 0; i < OSC_WINDOW; i++) buf[ch][i] = voltage;
    initialized[ch] = 1;
  }
  buf[ch][idx[ch]] = voltage;
  idx[ch] = (idx[ch] + 1) % OSC_WINDOW;
  float mn = buf[ch][0], mx = buf[ch][0];
  for (int i = 1; i < OSC_WINDOW; i++) {
    if (buf[ch][i] < mn) mn = buf[ch][i];
    if (buf[ch][i] > mx) mx = buf[ch][i];
  }
  float amp = mx - mn; /* Input is already a voltage after the 50 Hz notch. */
  osc_amp_ch[ch] = lpf_update(osc_amp_ch[ch], amp, OSC_ALPHA);
  return osc_amp_ch[ch];
}

/* 复位某一路的陷波状态。通道刚从轨上下来时必须做，否则滤波器内残留的
 * 直流电平会制造一个假阶跃。 */
static void Notch50_Reset(int ch)
{
  notch_state[ch].x1 = notch_state[ch].x2 = 0.0f;
  notch_state[ch].y1 = notch_state[ch].y2 = 0.0f;
  notch_state[ch].initialized = 0;
}

/* 立刻重采一次安静基线，并把滤波/按压/峰值状态全部复位到新基线。
 * 用于模拟前端已经漂移、但不想断电重启的场合。贴轨通道跳过（3.3V 不是有效基线）。 */
static void ADC_Rezero(void)
{
  float sum[4] = {0, 0, 0, 0};
  for (uint32_t k = 0; k < BASELINE_SAMPLES; k++)
  {
    for (int i = 0; i < 4; i++) sum[i] += adc_notch_vin[i];
    HAL_Delay(1);
  }
  for (int i = 0; i < 4; i++)
  {
    if (ch_rail[i]) continue;
    base[i] = sum[i] / (float)BASELINE_SAMPLES;
    vin_f[i] = base[i];
    vin_slow[i] = base[i];
    press_dev[i] = 0;
    pressed[i] = 0;
    peak[i] = 0;
    peak_up[i] = 0;
  }
}
/* USER CODE END 0 */

int main(void)
{

  /* MCU Configuration--------------------------------------------------------*/

  /* Reset of all peripherals, Initializes the Flash interface and the Systick. */
  HAL_Init();

  /* Configure the system clock */
  SystemClock_Config();

  /* Initialize all configured peripherals */
  MX_GPIO_Init();
  MX_DMA_Init();
  MX_ADC_Init();
  /* USER CODE BEGIN 2 */
  /* Calibrate ADC, then start single-channel PA3 sampling via circular DMA */
  sensor0_test_version = 1u; /* Retain the observation-profile version in the ELF. */
  adc_diag_stage = 1;
  adc_cal_status = HAL_ADCEx_Calibration_Start(&hadc);
  if (adc_cal_status != HAL_OK) Error_Handler();

  /* ---- 高速连续采样: 单通道 @55.6 kHz, DMA 循环搬运 ----
   * 与原来相反: 这次【必须】使能 DMA 的 HT/TC 中断, 检测在中断里做。 */
  stk_prev    = 0;
  stk_dfloor_q = 0;                    /* 本底从 0 开始, 第一块后自动建立 */
  stk_last_ms = HAL_GetTick();

  adc_diag_stage = 2;
  adc_start_status = HAL_ADC_Start_DMA(&hadc, (uint32_t*)adc_dma_buf, ADC_DMA_LEN);
  if (adc_start_status != HAL_OK) Error_Handler();

  HAL_NVIC_SetPriority(DMA1_Channel1_IRQn, 1, 0);
  HAL_NVIC_ClearPendingIRQ(DMA1_Channel1_IRQn);
  HAL_NVIC_EnableIRQ(DMA1_Channel1_IRQn);

  adc_filter_ready = 1;
  adc_diag_stage = 3;

  /* 开机采安静基线（此刻不要碰板子） */
  //HAL_Delay(4000);  /* 传感器开机有~1~2s慢速爬升(实测1.43V→1.65V)，必须等稳定再采基线 */
  ADC_CalibrateBaseline(BASELINE_SAMPLES);

  /* 用基线初始化滤波器状态，避免启动瞬态误触发 */
  for (int i = 0; i < 4; i++) { vin_f[i] = base[i]; vin_slow[i] = base[i]; }

  uint8_t armed = 1;   /* 击打检测状态机：1=可触发，0=等回落 */
  /* USER CODE END 2 */

  /* Infinite loop */
  /* USER CODE BEGIN WHILE */
  while (1)
  {
    adc_diag_stage = 4;
    main_loop_count++;
    ADC_UpdateDiagnostics();
    if (SENSOR0_TEST_MODE)
    {
      /* Independent single-channel test runs entirely in DMA + SysTick.
       * Do not run auto-channel selection, 3/4 coincidence or position solving. */
      if (adc_rezero) { adc_rezero = 0; sensor0_reset = 1; }
      HAL_Delay(1);
      continue;
    }

    /* ---- 0. 手动重零：Ozone 里把 adc_rezero 写 1 ---- */
    if (adc_rezero)
    {
      adc_rezero = 0;
      ADC_Rezero();
    }

    /* ---- 1. 原始 ADC → 电压 → 滤波 + 自适应基线（供峰值/重心用） ---- */
    for (int i = 0; i < 4; i++)
    {
      /* 贴轨通道整体冻结：不滤波、不跟踪基线。
       * 否则 base[] 会一路爬到 3.3V，把"已锁死的通道"伪装成正常通道。 */
      if (ch_rail[i])
      {
        ch_frozen[i] = 1;
        continue;
      }
      float v = adc_notch_vin[i]; /* Fixed-rate notch output from SysTick. */
      if (ch_frozen[i])
      {
        /* 刚从轨上下来：把状态重置到当前电平，否则这个台阶会被当成一次击打。 */
        Notch50_Reset(i);
        v = adc_raw[i] * (ADC_REFERENCE_V / 4095.0f);
        vin_f[i] = v;
        vin_slow[i] = v;
        base[i] = v;
        press_dev[i] = 0;
        pressed[i] = 0;
        peak[i] = 0;
        peak_up[i] = 0;
        ch_frozen[i] = 0;
        continue;
      }
      vin_f[i]     = lpf_update(vin_f[i], v, LPF_ALPHA);
      vin_slow[i]  = lpf_update(vin_slow[i], v, PRESS_ALPHA);
      if (!pressed[i])
        base[i] = baseline_track(base[i], vin_slow[i]);            /* freeze baseline while pressed */
    }

    /* ---- 2. 振荡幅度(270Hz) → 按压检测：手指压上会压死共振，幅度骤降 ----
     * 四路都算；触发用的那一路由 trigger_ch 选。若选中的一路贴轨（没有信号），
     * 自动退回到"幅度最大且未贴轨"的一路，这样单路损坏不会让整个检测失效。 */
    for (int i = 0; i < 4; i++) osc_update(adc_notch_vin[i], i);
    {
      /* 触发通道选择：
       *   trigger_ch = 0..3  → 固定用该路；若该路贴轨则临时退回到最大幅度的一路
       *   trigger_ch >= 4    → 自动：选 osc_amp_ch 最大且未贴轨的一路（带 2× 迟滞防抖）
       * 实测这块板上 ch0 空闲时 1ms 抖动只有 0.4 mV（等于死通道），
       * 而原来的两套检测都只读 ch0 —— 自动模式直接解决这个问题。 */
      uint32_t tc;
      if (trigger_ch <= 3u && !ch_rail[trigger_ch]) {
        tc = trigger_ch;
      } else {
        uint32_t prev = trigger_ch_used;                 /* 上一轮的选择，用于迟滞 */
        if (prev > 3u || ch_rail[prev]) prev = 0u;
        uint32_t best = prev;
        float best_amp = -1.0f;
        for (int i = 0; i < 4; i++)
          if (!ch_rail[i] && osc_amp_ch[i] > best_amp) { best_amp = osc_amp_ch[i]; best = (uint32_t)i; }
        /* 自动模式：新通道要明显更强(>2×)才切换，避免在两路之间抖动 */
        if (trigger_ch > 3u && best != prev && best_amp < 2.0f * osc_amp_ch[prev]) best = prev;
        tc = best;
      }
      trigger_ch_used = tc;
      osc_amp = osc_amp_ch[tc];
      /* 下界(近期最低)：快速下跟、缓慢上回。空闲掉到0.6，按压停在1.0 */
      osc_floor = (osc_amp < osc_floor + OSC_FLOOR_LEAK) ? osc_amp : (osc_floor + OSC_FLOOR_LEAK);
      /* osc_floor 自身的慢参考值与离散度 → 自适应触发阈值 */
      {
        float ref = osc_floor_ref, spr = osc_floor_spread;
        ref += OSC_FLOOR_REF_ALPHA * (osc_floor - ref);
        spr += OSC_FLOOR_SPR_ALPHA * (fabsf(osc_floor - ref) - spr);
        osc_floor_ref = ref;
        osc_floor_spread = spr;
        float thr = ref + OSC_FLOOR_K * spr;
        if (thr < ref + OSC_FLOOR_MARGIN_MIN) thr = ref + OSC_FLOOR_MARGIN_MIN;
        osc_floor_thr = thr;
      }
    }

    /* ---- press/release detection: per-channel slow voltage vs frozen baseline ---- */
    for (int i = 0; i < 4; i++)
    {
      if (ch_rail[i]) { press_dev[i] = 0; pressed[i] = 0; continue; }
      press_dev[i] = base[i] - vin_slow[i];   /* >0 = pressed (voltage dropped) */
      if (!pressed[i])
      {
        if (press_dev[i] > PRESS_TH) pressed[i] = 1;
      }
      else
      {
        if (press_dev[i] < RELEASE_TH) pressed[i] = 0;
      }
    }

    /* ---- rough strike detection (fw 20260923) ----
     * 每路各用自己的自适应阈值 (max(0.05V, 6σ)) 判断是否向上越界，
     * 再要求最近 COINC_WIN_MS 内至少 COINC_CH 路同时越界。
     * 单路越界只算候选，不计数；这是把"每路独立的噪声"和"共同激励的机械敲击"分开的关键。 */
    {
      uint8_t mask = 0;
      for (int i = 0; i < 4; i++)
      {
        float d = vin_f[i] - base[i];
        strike_dev[i] = d;

        /* σ 在线估计：只用 |d| < 3σ 的"安静"样本，否则击打本身会把 σ 抬上去 */
        float s = noise_sigma[i];
        if (s < NOISE_SIGMA_MIN) s = NOISE_SIGMA_MIN;
        if (fabsf(d) < NOISE_CLIP_K * s)
        {
          noise_var[i] += NOISE_ALPHA * (d * d - noise_var[i]);
          if (noise_var[i] < 0.0f) noise_var[i] = 0.0f;
        }
        float sn = sqrtf(noise_var[i]);
        if (sn < NOISE_SIGMA_MIN) sn = NOISE_SIGMA_MIN;
        if (sn > NOISE_SIGMA_MAX) sn = NOISE_SIGMA_MAX;
        noise_sigma[i] = sn;

        float thr = STRIKE_SIGMA_K * sn;
        if (thr < STRIKE_MARGIN_MIN) thr = STRIKE_MARGIN_MIN;
        if (thr > STRIKE_MARGIN_MAX) thr = STRIKE_MARGIN_MAX;
        strike_thr[i] = thr;

        if (!ch_rail[i] && d > thr) { strike_ch[i] = 1; mask |= (uint8_t)(1u << i); }
        else                          strike_ch[i] = 0;
      }

      /* 同时性：把最近 COINC_WIN_MS+1 个采样的越界掩码 OR 起来 */
      coinc_ring[coinc_idx] = mask;
      coinc_idx = (uint8_t)((coinc_idx + 1u) % (COINC_WIN_MS + 1u));
      uint8_t acc = 0;
      for (uint32_t i = 0; i <= COINC_WIN_MS; i++) acc |= coinc_ring[i];
      uint32_t n = 0;
      for (int i = 0; i < 4; i++) if (acc & (uint8_t)(1u << i)) n++;
      strike_coinc = n;

      uint32_t now = HAL_GetTick();
      if (n >= COINC_CH)
      {
        if ((now - strike_last_ms) >= STRIKE_REFRACT_MS)
        {
          strike_count++;                     /* rising edge = one strike */
          strike_last_ms = now;
        }
        else strike_dropped++;                /* 不应期内，忽略 */
      }
      else if (n > 0) strike_dropped++;
      strike_reject = strike_dropped;

      striking = ((now - strike_last_ms) < STRIKE_HOLD_MS) ? 1u : 0u;
    }

    if (armed)
    {
      if (osc_floor > osc_floor_thr)
      {
        /* ---- 3. 触发后开 HIT_WINDOW_MS 窗口抓各通道峰值 ---- */
        for (int i = 0; i < 4; i++) { peak[i] = 0; peak_up[i] = 0; }
        uint32_t t0 = HAL_GetTick();
        while (HAL_GetTick() - t0 < HIT_WINDOW_MS)
        {
          ADC_UpdateDiagnostics();
          for (int i = 0; i < 4; i++)
          {
            if (ch_rail[i]) continue;
            float v = adc_notch_vin[i];
            vin_f[i] = lpf_update(vin_f[i], v, LPF_ALPHA);   /* 同样走滤波，保持 1ms 采样 */
            float f = adc_to_F(vin_f[i], base[i]);           /* 向下偏离量 */
            float u = adc_to_F(base[i], vin_f[i]);           /* 向上偏离量 */
            if (f > peak[i]) peak[i] = f;
            if (u > peak_up[i]) peak_up[i] = u;
          }
          HAL_Delay(1);   /* 保持 1ms 采样率，滤波系数才对应 ~16Hz 截止 */
        }

        /* ---- 4. 峰值重心 → 位置（中心原点，四象限）----
           象限映射：ch0 右上(第一)、ch1 左上(第二)、
                     ch2 左下(第三)、ch3 右下(第四)
           贴轨通道不参与：它给出的是电源轨，不是力。
           并且沿用和 strike_count 相同的"同时性"原则：至少 HIT_STRONG_CH 路的
           峰值超过各自噪声的 HIT_PEAK_K 倍，才认可这是一次共同激励的敲击。 */
        {
          volatile float *pv = peak_dir ? peak_up : peak;
          float Sp = 0;
          uint32_t live = 0, strong = 0;
          for (int i = 0; i < 4; i++)
          {
            if (ch_rail[i]) continue;
            Sp += pv[i];
            live++;
            if (pv[i] > HIT_PEAK_K * noise_sigma[i]) strong++;
          }

          if (live < 3 || strong < HIT_STRONG_CH)
          {
            /* 可用通道不足、或没有形成多路共同响应 → 丢弃，不给假坐标也不计数。 */
            hit_valid = 0;
            hit_rejected++;
          }
          else if (Sp > 1e-3f)
          {
            hit_x = (BOARD_W_MM / 2.0f) * ((pv[0] + pv[3]) - (pv[1] + pv[2])) / Sp;
            hit_y = (BOARD_H_MM / 2.0f) * ((pv[0] + pv[1]) - (pv[2] + pv[3])) / Sp;
            hit_valid = 1;
            hit_count++;
          }
        }
        armed = 0;   /* 等回落，防止同一次击打重复算 */
      }
    }
    else
    {
      /* ---- 5. 下界掉回(手指离开，低点恢复) → 重新武装 ----
       * 复位点取"参考值 → 阈值"之间的一半，避免阈值附近来回翻转。 */
      if (osc_floor < osc_floor_ref + OSC_FLOOR_REARM_FRAC * (osc_floor_thr - osc_floor_ref))
        armed = 1;
    }

    HAL_Delay(1);   /* 采样周期 1ms */
    /* USER CODE END WHILE */

  }
}

void SystemClock_Config(void)
{
  RCC_OscInitTypeDef RCC_OscInitStruct = {0};
  RCC_ClkInitTypeDef RCC_ClkInitStruct = {0};

  /** Initializes the RCC Oscillators according to the specified parameters
  * in the RCC_OscInitTypeDef structure.
  */
  RCC_OscInitStruct.OscillatorType = RCC_OSCILLATORTYPE_HSI|RCC_OSCILLATORTYPE_HSI14;
  RCC_OscInitStruct.HSIState = RCC_HSI_ON;
  RCC_OscInitStruct.HSI14State = RCC_HSI14_ON;
  RCC_OscInitStruct.HSICalibrationValue = RCC_HSICALIBRATION_DEFAULT;
  RCC_OscInitStruct.HSI14CalibrationValue = 16;
  RCC_OscInitStruct.PLL.PLLState = RCC_PLL_ON;
  RCC_OscInitStruct.PLL.PLLSource = RCC_PLLSOURCE_HSI;
  RCC_OscInitStruct.PLL.PLLMUL = RCC_PLL_MUL12;
  RCC_OscInitStruct.PLL.PREDIV = RCC_PREDIV_DIV1;
  if (HAL_RCC_OscConfig(&RCC_OscInitStruct) != HAL_OK)
  {
    Error_Handler();
  }

  /** Initializes the CPU, AHB and APB buses clocks
  */
  RCC_ClkInitStruct.ClockType = RCC_CLOCKTYPE_HCLK|RCC_CLOCKTYPE_SYSCLK
                              |RCC_CLOCKTYPE_PCLK1;
  RCC_ClkInitStruct.SYSCLKSource = RCC_SYSCLKSOURCE_PLLCLK;
  RCC_ClkInitStruct.AHBCLKDivider = RCC_SYSCLK_DIV1;
  RCC_ClkInitStruct.APB1CLKDivider = RCC_HCLK_DIV1;

  if (HAL_RCC_ClockConfig(&RCC_ClkInitStruct, FLASH_LATENCY_1) != HAL_OK)
  {
    Error_Handler();
  }
}

/* USER CODE BEGIN 4 */

/**
  * @brief  DMA 半传输完成 —— 前半缓冲 adc_dma_buf[0 .. ADC_DMA_BLKSZ-1] 已满
  */
void HAL_ADC_ConvHalfCpltCallback(ADC_HandleTypeDef *hadc)
{
  (void)hadc;
  Strike_ProcessBlock((const uint16_t *)&adc_dma_buf[0], ADC_DMA_BLKSZ);
}

/**
  * @brief  DMA 全传输完成 —— 后半缓冲 adc_dma_buf[ADC_DMA_BLKSZ .. 2*ADC_DMA_BLKSZ-1] 已满
  */
void HAL_ADC_ConvCpltCallback(ADC_HandleTypeDef *hadc)
{
  (void)hadc;
  Strike_ProcessBlock((const uint16_t *)&adc_dma_buf[ADC_DMA_BLKSZ], ADC_DMA_BLKSZ);
}

/* USER CODE END 4 */

void Error_Handler(void)
{
  __disable_irq();
  while (1)
  {
  }
}
